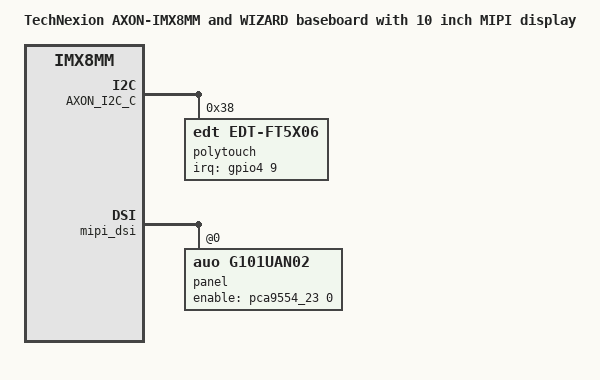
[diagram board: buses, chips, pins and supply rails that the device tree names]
/*
 * Copyright 2019 Technexion Ltd.
 * Copyright 2018 NXP
 *
 * Author: Andy Lin <andy.lin@technexion.com>
 *
 * This program is free software; you can redistribute it and/or
 * modify it under the terms of the GNU General Public License
 * as published by the Free Software Foundation; either version 2
 * of the License, or (at your option) any later version.
 *
 * This program is distributed in the hope that it will be useful,
 * but WITHOUT ANY WARRANTY; without even the implied warranty of
 * MERCHANTABILITY or FITNESS FOR A PARTICULAR PURPOSE.  See the
 * GNU General Public License for more details.
 */

/dts-v1/;

#include "imx8mm-axon-wizard.dts"

/ {
	model = "TechNexion AXON-IMX8MM and WIZARD baseboard with 10 inch MIPI display";
};

&AXON_I2C_C {  // I2C_C
	status = "okay";

	polytouch: edt-ft5x06@38 {
		compatible = "edt,edt-ft5x06";
		reg = <0x38>;
		pinctrl-names = "default";
        pinctrl-0 = <&pinctrl_ft5336_touch_irq>;
		interrupt-parent = <&gpio4>;
		interrupts = <9 IRQ_TYPE_EDGE_FALLING>;
		touchscreen-size-x = <1920>;
		touchscreen-size-y = <1200>;
		status="okay";
	};
};

&mipi_dsi {
	status = "okay";
	panel@0 {
		compatible = "auo,g101uan02";
		reg = <0>;
		enable-gpios = <&pca9554_23 0 GPIO_ACTIVE_HIGH>;
		status = "okay";
	};
};

